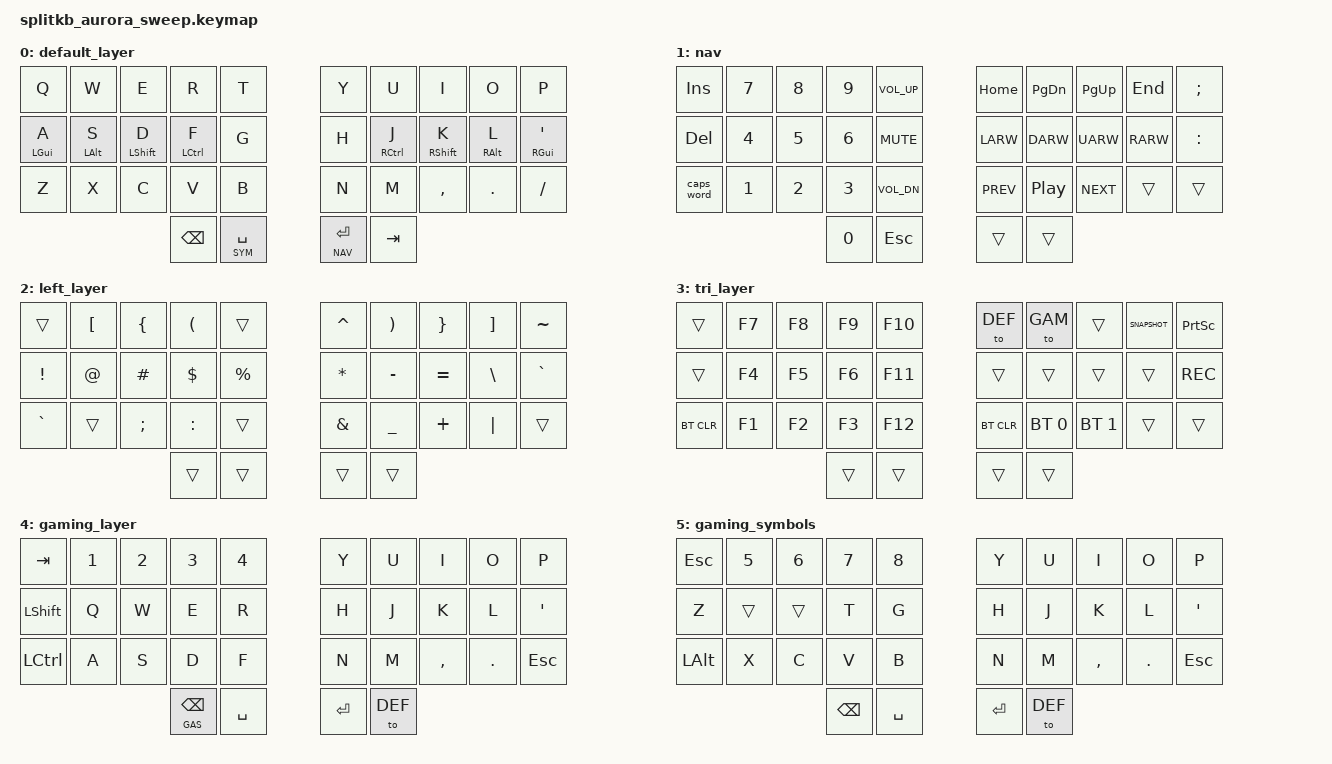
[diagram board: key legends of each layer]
#include <behaviors.dtsi>
#include <dt-bindings/zmk/bt.h>
#include <dt-bindings/zmk/keys.h>

#define DEF 0
#define NAV 1
#define SYM 2
#define TRI 3
#define GAM 4
#define GAS 5

/ {
  behaviors {
    ht: hold_tap {
      label = "hold_tap";
      compatible = "zmk,behavior-hold-tap";
      #binding-cells = <2>;
      flavor = "tap-preferred";
      tapping-term-ms = <200>;
      quick-tap-ms = <150>;
      require-prior-idle-ms = <100>;
      bindings = <&kp>, <&kp>;
    };
  };

  conditional_layers {
    compatible = "zmk,conditional-layers";

    tri_layer {
      if-layers = <1 2>;
      then-layer = <3>;
    };
  };

  combos {
    compatible = "zmk,combos";

    combo_capsword {
      bindings = <&caps_word>;
      key-positions = <12 17>;
      layers = <DEF>;
      timeout-ms = <40>;
      require-prior-idle-ms = <150>;
    };

    combo_esc {
      timeout-ms = <50>;
      key-positions = <16 17>;
      bindings = <&kp ESC>;
    };

    combo_tab {
      timeout-ms = <50>;
      key-positions = <11 12>;
      bindings = <&kp TAB>;
    };

    combo_colon {
      bindings = <&kp COLON>;
      key-positions = <17 18>;
      timeout-ms = <50>;
    };
  };

  keymap {
    compatible = "zmk,keymap";

    default_layer {
      bindings = <
        &kp Q          &kp W       &kp E         &kp R        &kp T    &kp Y  &kp U        &kp I         &kp O       &kp P
        &ht LGUI A     &ht LALT S  &ht LSHIFT D  &ht LCTRL F  &kp G    &kp H  &ht RCTRL J  &ht RSHIFT K  &ht RALT L  &ht RGUI SQT
        &kp Z          &kp X       &kp C         &kp V        &kp B    &kp N  &kp M        &kp COMMA     &kp DOT     &kp FSLH
        &kp BKSP       &lt SYM SPACE                                                                     &lt NAV ENTER   &kp TAB
      >;
    };

    nav {
      bindings = <
        &kp INS     &kp N7   &kp N8  &kp N9  &kp C_VOL_UP    &kp HOME    &kp PG_DN  &kp PG_UP   &kp END   &kp SEMI
        &kp DEL     &kp N4   &kp N5  &kp N6  &kp C_MUTE      &kp LARW    &kp DARW   &kp UARW    &kp RARW  &kp COLON
        &caps_word  &kp N1   &kp N2  &kp N3  &kp C_VOL_DN    &kp C_PREV  &kp C_PP   &kp C_NEXT  &trans    &trans
        &kp N0      &kp ESC                                                                     &trans    &trans
      >;
    };

    left_layer {
      bindings = <
        &trans     &kp LBKT  &kp LBRC  &kp LPAR   &trans       &kp CARET  &kp RPAR   &kp RBRC   &kp RBKT  &kp TILDE
        &kp EXCL   &kp AT    &kp HASH  &kp DLLR   &kp PRCNT    &kp ASTRK  &kp MINUS  &kp EQUAL  &kp BSLH  &kp GRAVE
        &kp GRAVE  &trans    &kp SEMI  &kp COLON  &trans       &kp AMPS   &kp UNDER  &kp PLUS   &kp PIPE  &trans
        &trans     &trans                                                                       &trans    &trans
      >;
    };

    tri_layer {
      bindings = <
        &trans      &kp F7  &kp F8  &kp F9  &kp F10    &to DEF     &to GAM       &trans        &kp C_SNAPSHOT  &kp PSCRN
        &trans      &kp F4  &kp F5  &kp F6  &kp F11    &trans      &trans        &trans        &trans          &kp C_REC
        &bt BT_CLR  &kp F1  &kp F2  &kp F3  &kp F12    &bt BT_CLR  &bt BT_SEL 0  &bt BT_SEL 1  &trans          &trans
        &trans      &trans                                                                     &trans          &trans
      >;
    };

    gaming_layer {
      bindings = <
        &kp TAB     &kp N1        &kp N2  &kp N3  &kp N4    &kp Y  &kp U  &kp I      &kp O    &kp P
        &kp LSHIFT  &kp Q         &kp W   &kp E   &kp R     &kp H  &kp J  &kp K      &kp L    &kp SQT
        &kp LCTRL   &kp A         &kp S   &kp D   &kp F     &kp N  &kp M  &kp COMMA  &kp DOT  &kp ESC
        &lt GAS BKSP    &kp SPACE                                                    &kp ENTER  &to DEF
      >;
    };

    gaming_symbols {
      bindings = <
        &kp ESC    &kp N5    &kp N6  &kp N7  &kp N8    &kp Y  &kp U  &kp I      &kp O    &kp P
        &kp Z      &trans    &trans  &kp T   &kp G     &kp H  &kp J  &kp K      &kp L    &kp SQT
        &kp LALT   &kp X     &kp C   &kp V   &kp B     &kp N  &kp M  &kp COMMA  &kp DOT  &kp ESC
        &kp BKSP  &kp SPACE                                                     &kp ENTER  &to DEF
      >;
    };
  };
};

